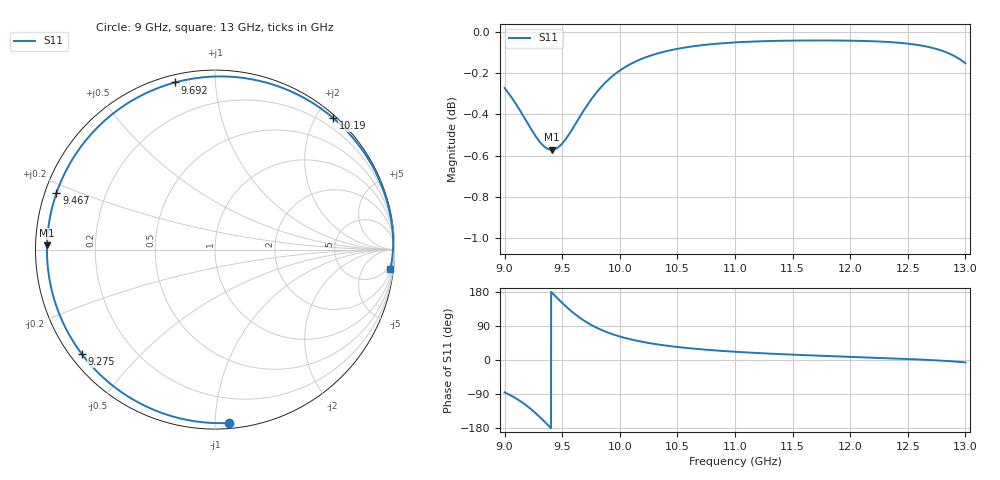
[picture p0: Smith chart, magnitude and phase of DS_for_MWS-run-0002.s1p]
! TOUCHSTONE file generated by CST DESIGN STUDIO
! Date and time: Tue Feb  4 13:15:56 2025
! Project name: C:\Work\MatlabApps\UnitCellOptimizationMatlab\CST\unitcell.cst
! Tree item: Tasks\Sweep1\SPara1\S-Parameters
! Header version: 2024
! Port assignment regex: !\s*Touchstone port\s*([0-9]+)\s*=\s*(CST MWS port|CST DES external port|CST DES block port)\s*(.+)\s* \(\"(.*)\"\)(\s*mode\s*([0-9]+))?.*
! Touchstone port assignment:
! Touchstone port 1 = CST DES external port 1 ("")
# GHz S MA R 50
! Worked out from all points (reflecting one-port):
!   4001 points, 9 GHz to 13 GHz, reference 50 ohm
!   lowest |S11| = -0.6 dB at 9.408 GHz (marker M1), VSWR 30.41, Z = 1.64 + j0.647 ohm
!   phase of S11 starts at -85 deg and turns -281 deg over the sweep
!   S11 on the Smith chart (normalised r, x): 9 GHz: 0.03, -1.09; 9.275 GHz: 0.03, -0.35; 9.467 GHz: 0.03, +0.17; 9.692 GHz: 0.04, +0.79; 10.19 GHz: 0.04, +2.24; 13 GHz: 3, -18
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9  0.9692 -85.2
9.082  0.9622 -98.2
9.151  0.9554 -111.6
9.214  0.9488 -125.9
9.275  0.9429 -141.8
9.345  0.9379 -162.1
9.408  0.9363 178.5
9.467  0.9377 160.4
9.5  0.9396 150.6
9.547  0.9433 137.3
9.593  0.9477 125.4
9.641  0.9525 114.1
9.692  0.9576 103.4
9.76  0.9638 91.2
9.841  0.97 79.3
9.918  0.9747 70.1
10  0.9787 62.0
10.092  0.9823 54.6
10.194  0.9853 48.0
10.334  0.9883 40.9
10.5  0.9907 34.3
10.723  0.9928 27.8
11  0.9943 21.7
11.5  0.9953 14.1
12  0.9952 8.3
12.5  0.9936 2.6
12.78  0.99 -1.5
13  0.9827 -6.4
